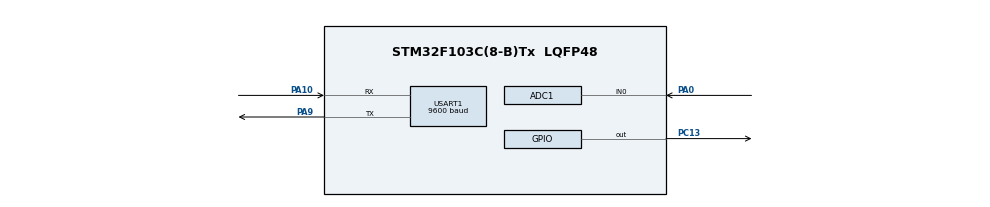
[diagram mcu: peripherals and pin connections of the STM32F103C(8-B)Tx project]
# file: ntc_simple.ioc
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ADC1.Channel-0\#ChannelRegularConversion=ADC_CHANNEL_0
ADC1.NbrOfConversionFlag=1
ADC1.Rank-0\#ChannelRegularConversion=1
ADC1.SamplingTime-0\#ChannelRegularConversion=ADC_SAMPLETIME_239CYCLES_5
ADC1.master=1
Dma.ADC1.0.Direction=DMA_PERIPH_TO_MEMORY
Dma.ADC1.0.Instance=DMA1_Channel1
Dma.ADC1.0.MemDataAlignment=DMA_MDATAALIGN_HALFWORD
Dma.ADC1.0.MemInc=DMA_MINC_ENABLE
Dma.ADC1.0.Mode=DMA_CIRCULAR
Dma.ADC1.0.PeriphDataAlignment=DMA_PDATAALIGN_HALFWORD
Dma.ADC1.0.PeriphInc=DMA_PINC_DISABLE
Dma.ADC1.0.Priority=DMA_PRIORITY_LOW
Dma.Request0=ADC1
Mcu.Family=STM32F1
Mcu.Name=STM32F103C(8-B)Tx
Mcu.Package=LQFP48
NVIC.DMA1_Channel1_IRQn=true\:0\:0\:false\:false\:true\:false\:true
NVIC.PriorityGroup=NVIC_PRIORITYGROUP_4
NVIC.TIM4_IRQn=true\:0\:0\:false\:false\:true\:true\:true
PA0-WKUP.Signal=ADCx_IN0
PA10.Mode=Asynchronous
PA10.Signal=USART1_RX
PA13.Mode=Trace_Asynchronous_SW
PA13.Signal=SYS_JTMS-SWDIO
PA14.Mode=Trace_Asynchronous_SW
PA14.Signal=SYS_JTCK-SWCLK
PA9.Mode=Asynchronous
PA9.Signal=USART1_TX
PB3.Mode=Trace_Asynchronous_SW
PB3.Signal=SYS_JTDO-TRACESWO
PC13-TAMPER-RTC.Signal=GPIO_Output
ProjectManager.HeapSize=0x200
ProjectManager.StackSize=0x400
ProjectManager.TargetToolchain=STM32CubeIDE
RCC.APB1Freq_Value=8000000
RCC.APB2Freq_Value=8000000
SH.ADCx_IN0.0=ADC1_IN0,IN0
TIM4.Period=1000-1
TIM4.Prescaler=800-1
USART1.BaudRate=9600
USART1.VirtualMode=VM_ASYNC
VP_TIM4_VS_ClockSourceINT.Mode=Internal
board=custom

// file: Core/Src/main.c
/* USER CODE BEGIN Header */
/**
  ******************************************************************************
  * @file           : main.c
  * @brief          : Main program body
  ******************************************************************************
  * @attention
  *
  * <h2><center>&copy; Copyright (c) 2020 STMicroelectronics.
  * All rights reserved.</center></h2>
  *
  * This software component is licensed by ST under BSD 3-Clause license,
  * the "License"; You may not use this file except in compliance with the
  * License. You may obtain a copy of the License at:
  *                        opensource.org/licenses/BSD-3-Clause
  *
  ******************************************************************************
  */
/* USER CODE END Header */
#include "main.h"

/* USER CODE BEGIN Includes */
#include <math.h>

/* USER CODE END Includes */

ADC_HandleTypeDef hadc1;
DMA_HandleTypeDef hdma_adc1;

TIM_HandleTypeDef htim4;

UART_HandleTypeDef huart1;

/* USER CODE BEGIN PV */

/* adc vars */
uint16_t ADC_Raw[1];

/* ntc vars */
float Ntc_Tmp;
float Ntc_Tmp_Raw;
uint16_t Ntc_R;

/* R1 resistance */
#define NTC_UP_R 10000.0f

/* constants of Steinhart-Hart equation */
#define A 0.0008736528f
#define B 0.000253893f
#define C 0.0000001816f

/* sheduler vars */
uint8_t Sch_100ms = 255;

/* USER CODE END PV */

void SystemClock_Config(void);
static void MX_GPIO_Init(void);
static void MX_DMA_Init(void);
static void MX_ADC1_Init(void);
static void MX_TIM4_Init(void);
static void MX_USART1_UART_Init(void);

int main(void)
{

  /* MCU Configuration--------------------------------------------------------*/

  /* Reset of all peripherals, Initializes the Flash interface and the Systick. */
  HAL_Init();

  /* Configure the system clock */
  SystemClock_Config();

  /* Initialize all configured peripherals */
  MX_GPIO_Init();
  MX_DMA_Init();
  MX_ADC1_Init();
  MX_TIM4_Init();
  MX_USART1_UART_Init();
  /* USER CODE BEGIN 2 */

  /* adc calibration */
  HAL_ADCEx_Calibration_Start(&hadc1);

  /* adc dma start */
  HAL_ADC_Start_DMA(&hadc1, (uint32_t*)ADC_Raw, 1);

  /* timer 4 (f=10Hz, T=100ms start */
  HAL_TIM_Base_Start_IT(&htim4);

  /* USER CODE END 2 */

  /* Infinite loop */
  /* USER CODE BEGIN WHILE */
  while (1)
  {

	if(Sch_100ms){
	/* get adc value */
	HAL_ADC_Start_IT(&hadc1);

	/* calc. ntc resistance */
	Ntc_R = ((NTC_UP_R)/((4095.0/ADC_Raw[0]) - 1));

	/* temp */
	float Ntc_Ln = log(Ntc_R);
	/* calc. temperature */
	Ntc_Tmp = (1.0/(A + B*Ntc_Ln + C*Ntc_Ln*Ntc_Ln*Ntc_Ln)) - 273.15;

	/* nullify */
	Sch_100ms = 0;
	}

    /* USER CODE END WHILE */

  }
}

void SystemClock_Config(void)
{
  RCC_OscInitTypeDef RCC_OscInitStruct = {0};
  RCC_ClkInitTypeDef RCC_ClkInitStruct = {0};
  RCC_PeriphCLKInitTypeDef PeriphClkInit = {0};

  /** Initializes the RCC Oscillators according to the specified parameters
  * in the RCC_OscInitTypeDef structure.
  */
  RCC_OscInitStruct.OscillatorType = RCC_OSCILLATORTYPE_HSI;
  RCC_OscInitStruct.HSIState = RCC_HSI_ON;
  RCC_OscInitStruct.HSICalibrationValue = RCC_HSICALIBRATION_DEFAULT;
  RCC_OscInitStruct.PLL.PLLState = RCC_PLL_NONE;
  if (HAL_RCC_OscConfig(&RCC_OscInitStruct) != HAL_OK)
  {
    Error_Handler();
  }
  /** Initializes the CPU, AHB and APB buses clocks
  */
  RCC_ClkInitStruct.ClockType = RCC_CLOCKTYPE_HCLK|RCC_CLOCKTYPE_SYSCLK
                              |RCC_CLOCKTYPE_PCLK1|RCC_CLOCKTYPE_PCLK2;
  RCC_ClkInitStruct.SYSCLKSource = RCC_SYSCLKSOURCE_HSI;
  RCC_ClkInitStruct.AHBCLKDivider = RCC_SYSCLK_DIV1;
  RCC_ClkInitStruct.APB1CLKDivider = RCC_HCLK_DIV1;
  RCC_ClkInitStruct.APB2CLKDivider = RCC_HCLK_DIV1;

  if (HAL_RCC_ClockConfig(&RCC_ClkInitStruct, FLASH_LATENCY_0) != HAL_OK)
  {
    Error_Handler();
  }
  PeriphClkInit.PeriphClockSelection = RCC_PERIPHCLK_ADC;
  PeriphClkInit.AdcClockSelection = RCC_ADCPCLK2_DIV2;
  if (HAL_RCCEx_PeriphCLKConfig(&PeriphClkInit) != HAL_OK)
  {
    Error_Handler();
  }
}

static void MX_ADC1_Init(void)
{

  ADC_ChannelConfTypeDef sConfig = {0};

  /** Common config
  */
  hadc1.Instance = ADC1;
  hadc1.Init.ScanConvMode = ADC_SCAN_DISABLE;
  hadc1.Init.ContinuousConvMode = DISABLE;
  hadc1.Init.DiscontinuousConvMode = DISABLE;
  hadc1.Init.ExternalTrigConv = ADC_SOFTWARE_START;
  hadc1.Init.DataAlign = ADC_DATAALIGN_RIGHT;
  hadc1.Init.NbrOfConversion = 1;
  if (HAL_ADC_Init(&hadc1) != HAL_OK)
  {
    Error_Handler();
  }
  /** Configure Regular Channel
  */
  sConfig.Channel = ADC_CHANNEL_0;
  sConfig.Rank = ADC_REGULAR_RANK_1;
  sConfig.SamplingTime = ADC_SAMPLETIME_239CYCLES_5;
  if (HAL_ADC_ConfigChannel(&hadc1, &sConfig) != HAL_OK)
  {
    Error_Handler();
  }

}

static void MX_TIM4_Init(void)
{

  TIM_ClockConfigTypeDef sClockSourceConfig = {0};
  TIM_MasterConfigTypeDef sMasterConfig = {0};

  htim4.Instance = TIM4;
  htim4.Init.Prescaler = 800-1;
  htim4.Init.CounterMode = TIM_COUNTERMODE_UP;
  htim4.Init.Period = 1000-1;
  htim4.Init.ClockDivision = TIM_CLOCKDIVISION_DIV1;
  htim4.Init.AutoReloadPreload = TIM_AUTORELOAD_PRELOAD_DISABLE;
  if (HAL_TIM_Base_Init(&htim4) != HAL_OK)
  {
    Error_Handler();
  }
  sClockSourceConfig.ClockSource = TIM_CLOCKSOURCE_INTERNAL;
  if (HAL_TIM_ConfigClockSource(&htim4, &sClockSourceConfig) != HAL_OK)
  {
    Error_Handler();
  }
  sMasterConfig.MasterOutputTrigger = TIM_TRGO_RESET;
  sMasterConfig.MasterSlaveMode = TIM_MASTERSLAVEMODE_DISABLE;
  if (HAL_TIMEx_MasterConfigSynchronization(&htim4, &sMasterConfig) != HAL_OK)
  {
    Error_Handler();
  }

}

static void MX_USART1_UART_Init(void)
{

  huart1.Instance = USART1;
  huart1.Init.BaudRate = 9600;
  huart1.Init.WordLength = UART_WORDLENGTH_8B;
  huart1.Init.StopBits = UART_STOPBITS_1;
  huart1.Init.Parity = UART_PARITY_NONE;
  huart1.Init.Mode = UART_MODE_TX_RX;
  huart1.Init.HwFlowCtl = UART_HWCONTROL_NONE;
  huart1.Init.OverSampling = UART_OVERSAMPLING_16;
  if (HAL_UART_Init(&huart1) != HAL_OK)
  {
    Error_Handler();
  }

}

static void MX_DMA_Init(void)
{

  /* DMA controller clock enable */
  __HAL_RCC_DMA1_CLK_ENABLE();

  /* DMA interrupt init */
  /* DMA1_Channel1_IRQn interrupt configuration */
  HAL_NVIC_SetPriority(DMA1_Channel1_IRQn, 0, 0);
  HAL_NVIC_EnableIRQ(DMA1_Channel1_IRQn);

}

static void MX_GPIO_Init(void)
{
  GPIO_InitTypeDef GPIO_InitStruct = {0};

  /* GPIO Ports Clock Enable */
  __HAL_RCC_GPIOC_CLK_ENABLE();
  __HAL_RCC_GPIOA_CLK_ENABLE();
  __HAL_RCC_GPIOB_CLK_ENABLE();

  /*Configure GPIO pin Output Level */
  HAL_GPIO_WritePin(GPIOC, GPIO_PIN_13, GPIO_PIN_RESET);

  /*Configure GPIO pin : PC13 */
  GPIO_InitStruct.Pin = GPIO_PIN_13;
  GPIO_InitStruct.Mode = GPIO_MODE_OUTPUT_PP;
  GPIO_InitStruct.Pull = GPIO_NOPULL;
  GPIO_InitStruct.Speed = GPIO_SPEED_FREQ_LOW;
  HAL_GPIO_Init(GPIOC, &GPIO_InitStruct);

}

/* USER CODE BEGIN 4 */

/******* tim4 irqhandler *******/
void HAL_TIM_PeriodElapsedCallback(TIM_HandleTypeDef *htim)
{
 if(htim->Instance == TIM4)
	{
		/* set every 100ms */
		Sch_100ms = 255;
	}
}

/* USER CODE END 4 */

void Error_Handler(void)
{
}

/************************ (C) COPYRIGHT STMicroelectronics *****END OF FILE****/
